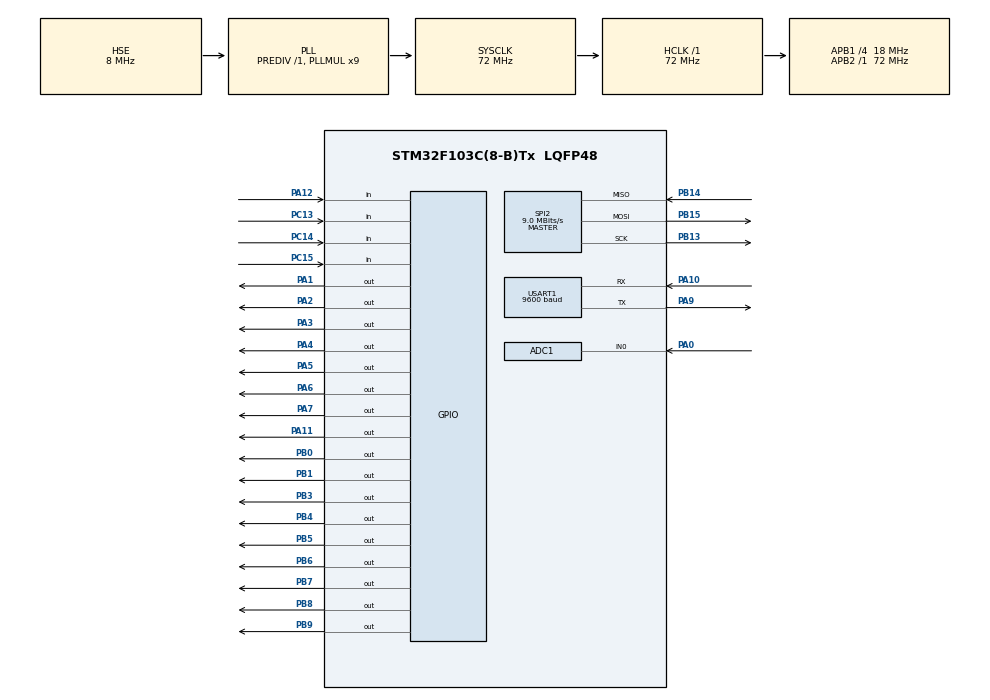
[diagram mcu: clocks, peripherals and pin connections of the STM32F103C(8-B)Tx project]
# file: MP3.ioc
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ADC1.Channel-0\#ChannelRegularConversion=ADC_CHANNEL_0
ADC1.NbrOfConversionFlag=1
ADC1.Rank-0\#ChannelRegularConversion=1
ADC1.SamplingTime-0\#ChannelRegularConversion=ADC_SAMPLETIME_1CYCLE_5
ADC1.master=1
FREERTOS.Tasks01=defaultTask,0,128,StartDefaultTask,Default,NULL,Dynamic,NULL,NULL;myTask02,0,128,StartTask02,Default,NULL,Dynamic,NULL,NULL
Mcu.Family=STM32F1
Mcu.Name=STM32F103C(8-B)Tx
Mcu.Package=LQFP48
NVIC.PriorityGroup=NVIC_PRIORITYGROUP_4
NVIC.TIM4_IRQn=true\:15\:0\:false\:false\:true\:false\:false\:true\:true
NVIC.TimeBase=TIM4_IRQn
NVIC.TimeBaseIP=TIM4
PA0-WKUP.Signal=ADCx_IN0
PA1.GPIO_PuPd=GPIO_PULLUP
PA1.Signal=GPIO_Output
PA10.Mode=Asynchronous
PA10.Signal=USART1_RX
PA11.GPIO_PuPd=GPIO_PULLUP
PA11.Signal=GPIO_Output
PA12.GPIO_PuPd=GPIO_PULLDOWN
PA12.Signal=GPIO_Input
PA13.Mode=Serial_Wire
PA13.Signal=SYS_JTMS-SWDIO
PA14.Mode=Serial_Wire
PA14.Signal=SYS_JTCK-SWCLK
PA2.GPIO_PuPd=GPIO_PULLUP
PA2.Signal=GPIO_Output
PA3.GPIO_ModeDefaultOutputPP=GPIO_MODE_OUTPUT_PP
PA3.GPIO_PuPd=GPIO_PULLUP
PA3.Signal=GPIO_Output
PA4.GPIO_PuPd=GPIO_PULLUP
PA4.Signal=GPIO_Output
PA5.GPIO_PuPd=GPIO_PULLUP
PA5.Signal=GPIO_Output
PA6.GPIO_PuPd=GPIO_PULLUP
PA6.Signal=GPIO_Output
PA7.GPIO_PuPd=GPIO_PULLUP
PA7.Signal=GPIO_Output
PA9.Mode=Asynchronous
PA9.Signal=USART1_TX
PB0.GPIO_PuPd=GPIO_PULLUP
PB0.Signal=GPIO_Output
PB1.GPIO_PuPd=GPIO_PULLUP
PB1.Signal=GPIO_Output
PB13.Mode=Full_Duplex_Master
PB13.Signal=SPI2_SCK
PB14.Mode=Full_Duplex_Master
PB14.Signal=SPI2_MISO
PB15.Mode=Full_Duplex_Master
PB15.Signal=SPI2_MOSI
PB3.GPIO_PuPd=GPIO_PULLUP
PB3.Signal=GPIO_Output
PB4.GPIO_PuPd=GPIO_PULLUP
PB4.Signal=GPIO_Output
PB5.GPIO_PuPd=GPIO_PULLUP
PB5.Signal=GPIO_Output
PB6.GPIO_PuPd=GPIO_PULLUP
PB6.Signal=GPIO_Output
PB7.GPIO_PuPd=GPIO_PULLUP
PB7.Signal=GPIO_Output
PB8.GPIO_PuPd=GPIO_PULLUP
PB8.Signal=GPIO_Output
PB9.GPIO_PuPd=GPIO_PULLUP
PB9.Signal=GPIO_Output
PC13-TAMPER-RTC.GPIO_PuPd=GPIO_PULLDOWN
PC13-TAMPER-RTC.Signal=GPIO_Input
PC14-OSC32_IN.GPIO_PuPd=GPIO_PULLDOWN
PC14-OSC32_IN.Signal=GPIO_Input
PC15-OSC32_OUT.GPIO_PuPd=GPIO_PULLDOWN
PC15-OSC32_OUT.Signal=GPIO_Input
PD0-OSC_IN.Mode=HSE-External-Oscillator
PD0-OSC_IN.Signal=RCC_OSC_IN
PD1-OSC_OUT.Mode=HSE-External-Oscillator
PD1-OSC_OUT.Signal=RCC_OSC_OUT
ProjectManager.HeapSize=0x200
ProjectManager.StackSize=0x400
ProjectManager.TargetToolchain=STM32CubeIDE
RCC.AHBFreq_Value=72000000
RCC.APB1CLKDivider=RCC_HCLK_DIV4
RCC.APB1Freq_Value=18000000
RCC.APB1TimFreq_Value=36000000
RCC.APB2Freq_Value=72000000
RCC.APB2TimFreq_Value=72000000
RCC.HCLKFreq_Value=72000000
RCC.PLLMUL=RCC_PLL_MUL9
RCC.PLLSourceVirtual=RCC_PLLSOURCE_HSE
RCC.SYSCLKFreq_VALUE=72000000
RCC.SYSCLKSource=RCC_SYSCLKSOURCE_PLLCLK
RCC.USBFreq_Value=72000000
SH.ADCx_IN0.0=ADC1_IN0,IN0
SPI2.CalculateBaudRate=9.0 MBits/s
SPI2.Direction=SPI_DIRECTION_2LINES
SPI2.Mode=SPI_MODE_MASTER
SPI2.VirtualType=VM_MASTER
USART1.BaudRate=9600
USART1.VirtualMode=VM_ASYNC
VP_FREERTOS_VS_CMSIS_V1.Mode=CMSIS_V1
VP_SYS_VS_tim4.Mode=TIM4
board=custom

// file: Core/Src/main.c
/* USER CODE BEGIN Header */
/**
  ******************************************************************************
  * @file           : main.c
  * @brief          : Main program body
  ******************************************************************************
  * @attention
  *
  * Copyright (c) 2024 STMicroelectronics.
  * All rights reserved.
  *
  * This software is licensed under terms that can be found in the LICENSE file
  * in the root directory of this software component.
  * If no LICENSE file comes with this software, it is provided AS-IS.
  *
  ******************************************************************************
  */
/* USER CODE END Header */
#include "main.h"
#include "cmsis_os.h"

/* USER CODE BEGIN Includes */
#include "DFPLAYER_MINI.h"
#include "93C46.h"

/* USER CODE END Includes */

/* USER CODE BEGIN PTD */
#include "stm32f1xx_hal.h"

//void EEPROM_Write_All_Zeros(SPI_HandleTypeDef* hspi);
/* USER CODE END PTD */

/* USER CODE BEGIN PD */
UART_HandleTypeDef huart1;
/* USER CODE END PD */

ADC_HandleTypeDef hadc1;

SPI_HandleTypeDef hspi2;

UART_HandleTypeDef huart1;

osThreadId defaultTaskHandle;
osThreadId myTask02Handle;

void SystemClock_Config(void);
static void MX_GPIO_Init(void);
static void MX_USART1_UART_Init(void);
static void MX_ADC1_Init(void);
static void MX_SPI2_Init(void);
void StartDefaultTask(void const * argument);
void StartTask02(void const * argument);

/* USER CODE BEGIN 0 */
#define EEPROM_CS_PIN GPIO_PIN_1
#define EEPROM_CS_GPIO_PORT GPIOA

void EEPROM_CS_Init(void)
{
    GPIO_InitTypeDef GPIO_InitStruct = {0};

    __HAL_RCC_GPIOB_CLK_ENABLE();
    GPIO_InitStruct.Pin = EEPROM_CS_PIN;
    GPIO_InitStruct.Mode = GPIO_MODE_OUTPUT_PP;
    GPIO_InitStruct.Pull = GPIO_NOPULL;
    GPIO_InitStruct.Speed = GPIO_SPEED_FREQ_HIGH;
    HAL_GPIO_Init(EEPROM_CS_GPIO_PORT, &GPIO_InitStruct);

    HAL_GPIO_WritePin(EEPROM_CS_GPIO_PORT, EEPROM_CS_PIN, GPIO_PIN_RESET); // CS 초기?��
}

/* USER CODE END 0 */

int main(void)
{

  /* MCU Configuration--------------------------------------------------------*/

  /* Reset of all peripherals, Initializes the Flash interface and the Systick. */
  HAL_Init();

  /* Configure the system clock */
  SystemClock_Config();

  /* Initialize all configured peripherals */
  MX_GPIO_Init();
  MX_USART1_UART_Init();
  MX_ADC1_Init();
  MX_SPI2_Init();
  /* USER CODE BEGIN 2 */
  DF_Init(13);
  /* USER CODE END 2 */

  /* Create the thread(s) */
  /* definition and creation of defaultTask */
  osThreadDef(defaultTask, StartDefaultTask, osPriorityNormal, 0, 128);
  defaultTaskHandle = osThreadCreate(osThread(defaultTask), NULL);

  /* definition and creation of myTask02 */
  osThreadDef(myTask02, StartTask02, osPriorityNormal, 0, 128);
  myTask02Handle = osThreadCreate(osThread(myTask02), NULL);

  /* Start scheduler */
  osKernelStart();

  /* We should never get here as control is now taken by the scheduler */

  /* Infinite loop */
  while (1)
  {

  }
}

void SystemClock_Config(void)
{
  RCC_OscInitTypeDef RCC_OscInitStruct = {0};
  RCC_ClkInitTypeDef RCC_ClkInitStruct = {0};
  RCC_PeriphCLKInitTypeDef PeriphClkInit = {0};

  /** Initializes the RCC Oscillators according to the specified parameters
  * in the RCC_OscInitTypeDef structure.
  */
  RCC_OscInitStruct.OscillatorType = RCC_OSCILLATORTYPE_HSE;
  RCC_OscInitStruct.HSEState = RCC_HSE_ON;
  RCC_OscInitStruct.HSEPredivValue = RCC_HSE_PREDIV_DIV1;
  RCC_OscInitStruct.HSIState = RCC_HSI_ON;
  RCC_OscInitStruct.PLL.PLLState = RCC_PLL_ON;
  RCC_OscInitStruct.PLL.PLLSource = RCC_PLLSOURCE_HSE;
  RCC_OscInitStruct.PLL.PLLMUL = RCC_PLL_MUL9;
  if (HAL_RCC_OscConfig(&RCC_OscInitStruct) != HAL_OK)
  {
    Error_Handler();
  }

  /** Initializes the CPU, AHB and APB buses clocks
  */
  RCC_ClkInitStruct.ClockType = RCC_CLOCKTYPE_HCLK|RCC_CLOCKTYPE_SYSCLK
                              |RCC_CLOCKTYPE_PCLK1|RCC_CLOCKTYPE_PCLK2;
  RCC_ClkInitStruct.SYSCLKSource = RCC_SYSCLKSOURCE_PLLCLK;
  RCC_ClkInitStruct.AHBCLKDivider = RCC_SYSCLK_DIV1;
  RCC_ClkInitStruct.APB1CLKDivider = RCC_HCLK_DIV4;
  RCC_ClkInitStruct.APB2CLKDivider = RCC_HCLK_DIV1;

  if (HAL_RCC_ClockConfig(&RCC_ClkInitStruct, FLASH_LATENCY_2) != HAL_OK)
  {
    Error_Handler();
  }
  PeriphClkInit.PeriphClockSelection = RCC_PERIPHCLK_ADC;
  PeriphClkInit.AdcClockSelection = RCC_ADCPCLK2_DIV2;
  if (HAL_RCCEx_PeriphCLKConfig(&PeriphClkInit) != HAL_OK)
  {
    Error_Handler();
  }
}

static void MX_ADC1_Init(void)
{

  ADC_ChannelConfTypeDef sConfig = {0};

  /** Common config
  */
  hadc1.Instance = ADC1;
  hadc1.Init.ScanConvMode = ADC_SCAN_DISABLE;
  hadc1.Init.ContinuousConvMode = DISABLE;
  hadc1.Init.DiscontinuousConvMode = DISABLE;
  hadc1.Init.ExternalTrigConv = ADC_SOFTWARE_START;
  hadc1.Init.DataAlign = ADC_DATAALIGN_RIGHT;
  hadc1.Init.NbrOfConversion = 1;
  if (HAL_ADC_Init(&hadc1) != HAL_OK)
  {
    Error_Handler();
  }

  /** Configure Regular Channel
  */
  sConfig.Channel = ADC_CHANNEL_0;
  sConfig.Rank = ADC_REGULAR_RANK_1;
  sConfig.SamplingTime = ADC_SAMPLETIME_1CYCLE_5;
  if (HAL_ADC_ConfigChannel(&hadc1, &sConfig) != HAL_OK)
  {
    Error_Handler();
  }

}

static void MX_SPI2_Init(void)
{

  /* SPI2 parameter configuration*/
  hspi2.Instance = SPI2;
  hspi2.Init.Mode = SPI_MODE_MASTER;
  hspi2.Init.Direction = SPI_DIRECTION_2LINES;
  hspi2.Init.DataSize = SPI_DATASIZE_8BIT;
  hspi2.Init.CLKPolarity = SPI_POLARITY_LOW;
  hspi2.Init.CLKPhase = SPI_PHASE_1EDGE;
  hspi2.Init.NSS = SPI_NSS_SOFT;
  hspi2.Init.BaudRatePrescaler = SPI_BAUDRATEPRESCALER_2;
  hspi2.Init.FirstBit = SPI_FIRSTBIT_MSB;
  hspi2.Init.TIMode = SPI_TIMODE_DISABLE;
  hspi2.Init.CRCCalculation = SPI_CRCCALCULATION_DISABLE;
  hspi2.Init.CRCPolynomial = 10;
  if (HAL_SPI_Init(&hspi2) != HAL_OK)
  {
    Error_Handler();
  }

}

static void MX_USART1_UART_Init(void)
{

  huart1.Instance = USART1;
  huart1.Init.BaudRate = 9600;
  huart1.Init.WordLength = UART_WORDLENGTH_8B;
  huart1.Init.StopBits = UART_STOPBITS_1;
  huart1.Init.Parity = UART_PARITY_NONE;
  huart1.Init.Mode = UART_MODE_TX_RX;
  huart1.Init.HwFlowCtl = UART_HWCONTROL_NONE;
  huart1.Init.OverSampling = UART_OVERSAMPLING_16;
  if (HAL_UART_Init(&huart1) != HAL_OK)
  {
    Error_Handler();
  }

}

static void MX_GPIO_Init(void)
{
  GPIO_InitTypeDef GPIO_InitStruct = {0};

  /* GPIO Ports Clock Enable */
  __HAL_RCC_GPIOC_CLK_ENABLE();
  __HAL_RCC_GPIOD_CLK_ENABLE();
  __HAL_RCC_GPIOA_CLK_ENABLE();
  __HAL_RCC_GPIOB_CLK_ENABLE();

  /*Configure GPIO pin Output Level */
  HAL_GPIO_WritePin(GPIOA, GPIO_PIN_1|GPIO_PIN_2|GPIO_PIN_3|GPIO_PIN_4
                          |GPIO_PIN_5|GPIO_PIN_6|GPIO_PIN_7|GPIO_PIN_11, GPIO_PIN_RESET);

  /*Configure GPIO pin Output Level */
  HAL_GPIO_WritePin(GPIOB, GPIO_PIN_0|GPIO_PIN_1|GPIO_PIN_3|GPIO_PIN_4
                          |GPIO_PIN_5|GPIO_PIN_6|GPIO_PIN_7|GPIO_PIN_8
                          |GPIO_PIN_9, GPIO_PIN_RESET);

  /*Configure GPIO pins : PC13 PC14 PC15 */
  GPIO_InitStruct.Pin = GPIO_PIN_13|GPIO_PIN_14|GPIO_PIN_15;
  GPIO_InitStruct.Mode = GPIO_MODE_INPUT;
  GPIO_InitStruct.Pull = GPIO_PULLDOWN;
  HAL_GPIO_Init(GPIOC, &GPIO_InitStruct);

  /*Configure GPIO pins : PA1 PA2 PA3 PA4
                           PA5 PA6 PA7 PA11 */
  GPIO_InitStruct.Pin = GPIO_PIN_1|GPIO_PIN_2|GPIO_PIN_3|GPIO_PIN_4
                          |GPIO_PIN_5|GPIO_PIN_6|GPIO_PIN_7|GPIO_PIN_11;
  GPIO_InitStruct.Mode = GPIO_MODE_OUTPUT_PP;
  GPIO_InitStruct.Pull = GPIO_PULLUP;
  GPIO_InitStruct.Speed = GPIO_SPEED_FREQ_LOW;
  HAL_GPIO_Init(GPIOA, &GPIO_InitStruct);

  /*Configure GPIO pins : PB0 PB1 PB3 PB4
                           PB5 PB6 PB7 PB8
                           PB9 */
  GPIO_InitStruct.Pin = GPIO_PIN_0|GPIO_PIN_1|GPIO_PIN_3|GPIO_PIN_4
                          |GPIO_PIN_5|GPIO_PIN_6|GPIO_PIN_7|GPIO_PIN_8
                          |GPIO_PIN_9;
  GPIO_InitStruct.Mode = GPIO_MODE_OUTPUT_PP;
  GPIO_InitStruct.Pull = GPIO_PULLUP;
  GPIO_InitStruct.Speed = GPIO_SPEED_FREQ_LOW;
  HAL_GPIO_Init(GPIOB, &GPIO_InitStruct);

  /*Configure GPIO pin : PA12 */
  GPIO_InitStruct.Pin = GPIO_PIN_12;
  GPIO_InitStruct.Mode = GPIO_MODE_INPUT;
  GPIO_InitStruct.Pull = GPIO_PULLDOWN;
  HAL_GPIO_Init(GPIOA, &GPIO_InitStruct);

}

void LED_Show(int state){
for (int i = 0; i < 12; i++)  // Turn off LED
	 HAL_GPIO_WritePin(cs_pins[i].port, cs_pins[i].pin, state);
HAL_Delay(500);
}

void MP3_Message(int message){
	Send_cmd(0x03,0x00, message); // 안녕하세요.
	HAL_Delay(500);
	DF_Busy();
}

void StartDefaultTask(void const * argument)
{
  /* USER CODE BEGIN 5 */

	uint8_t Mag1 ;

	HAL_Delay(500);
	DF_Busy();

	// LED 12개를 차례로 점등하면서 동작할 준비가 되어있다를 표시함
    for (int i = 0; i < 12; i++) //Turn On LED step by step
    {
    	 HAL_GPIO_WritePin(cs_pins[i].port, cs_pins[i].pin, 1);
    	 HAL_Delay(200);
    }
   // HAL_Delay(500);

	// 전기 넣으면 시작메시지를 내보냄

	MP3_Message(5);
	HAL_Delay(1000);

    LED_Show(0);
    LED_Show(1);
    LED_Show(0);
    LED_Show(1);
    LED_Show(0);
    LED_Show(1);
    LED_Show(0);

  for(;;)//------------- MAIN Routine -------------------------
  {
	MP3_Message(6);

	HAL_Delay(2000);

	while (1)
	    {
		    MP3_Message(7);
	    	HAL_Delay(2000);

	    	// 핸들이 내려왔는지 검출, PCB 위에 있는 자석을 Hall sensor 사용해서 검출함
	    	// GPIOC의 PIN_13에서 현재 상태 읽기
	    	Mag1 = HAL_GPIO_ReadPin(GPIOC, GPIO_PIN_13);

	        // Mag1 값이 0이면 루프를 빠져나옴
	        if (Mag1 == GPIO_PIN_RESET) // GPIO_PIN_RESET은 0 상태를 의미합니다.
	        {
	            break;
	        }
	    }

	HAL_Delay(1000);
	EEPROM_Erase_And_Verify(&hspi2);  // U2부터 하나씩 0으로 쓰고 verify, 결과를 LED로 표시

	HAL_Delay(500);

	MP3_Message(1);
	HAL_Delay(1000);

	while (1)
	    {
			MP3_Message(4);
	    	HAL_Delay(2000);

	    	 // GPIOC의 PIN_13에서 현재 상태 읽기
	    	Mag1 = HAL_GPIO_ReadPin(GPIOC, GPIO_PIN_13);

	    		        // Mag1 값이 0이면 루프를 빠져나옴
	        if (Mag1 != GPIO_PIN_RESET) // GPIO_PIN_RESET은 0 상태를 의미합니다.
	        {
	            break;
	        }
	    }

  }
  /* USER CODE END 5 */
}

void StartTask02(void const * argument)
{
  /* USER CODE BEGIN StartTask02 */
  /* Infinite loop */
	  uint16_t ADC_Val;  //MP3 volume control

	  for(;;)
	  {
	  HAL_ADC_Start(&hadc1);
	  ADC_Val = HAL_ADC_GetValue(&hadc1);
	 // volume = 1 + (ADC_Val/137);

	  DF_Busy();

	  Send_cmd(0x06, 0x00, 1+(ADC_Val/137) );
	  HAL_Delay(100);
	  }

  /* USER CODE END StartTask02 */
}

void HAL_TIM_PeriodElapsedCallback(TIM_HandleTypeDef *htim)
{
  if (htim->Instance == TIM4) {
    HAL_IncTick();
  }
}

void Error_Handler(void)
{
  __disable_irq();
  while (1)
  {
  }
}
